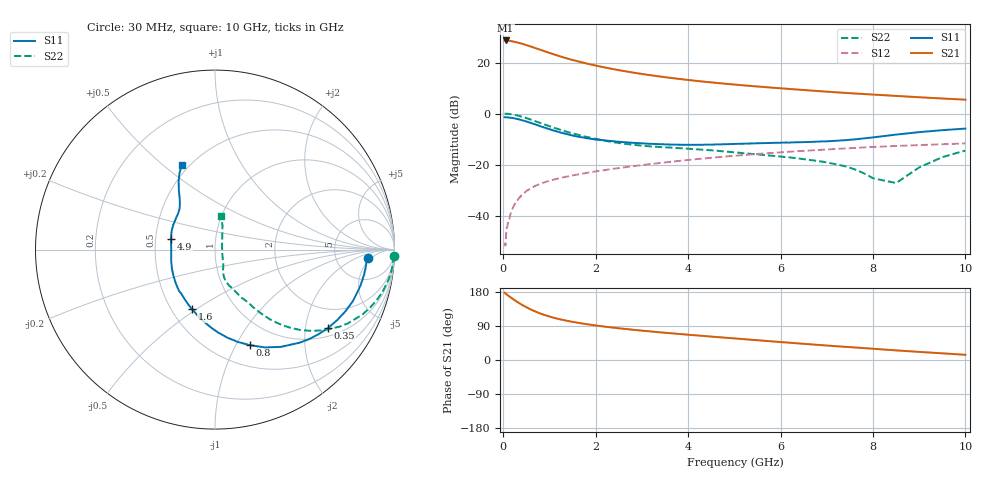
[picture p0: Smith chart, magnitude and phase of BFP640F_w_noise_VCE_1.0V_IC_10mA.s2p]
! Infineon Technologies  Discrete & RF Semiconductors
! BFP640F
! VCE =  1.0 V,  IC =  10 mA
! Common Emitter S-Parameters:  Apr 2013
# GHz  S  MA  R  50
!  f  S11  S21  S12  S22
! GHz  MAG  ANG  MAG  ANG  MAG  ANG  MAG  ANG
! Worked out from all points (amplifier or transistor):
!   99 points, 30 MHz to 10 GHz, reference 50 ohm
!   highest |S21| = 28.7 dB at 50 MHz (marker M1)
!   |S21| within 3 dB of that: start of sweep to 694.7 MHz
!   unconditionally stable (mu >= 1): 3.26 GHz to end of sweep
!   at 350 MHz: K = 0.19, MSG = 30.3 dB, |S12| = -33.0 dB
!   at 3.5 GHz: K = 1.01, MAG = 16.1 dB, |S12| = -19.2 dB
!   at 10 GHz: K = 1.07, MAG = 7.0 dB, |S12| = -11.7 dB
!   lowest NFmin = 0.63 dB at 450 MHz
!   S11 on the Smith chart (normalised r, x): 30 MHz: 11, -4; 350 MHz: 1.26, -2.67; 800 MHz: 0.73, -1.14; 1.6 GHz: 0.63, -0.48; 4.9 GHz: 0.60, +0.08; 10 GHz: 0.46, +0.58
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0.03  0.851 -3.1  26.94 177.4  0.0025 76.2  0.9956 -1.9
0.05  0.8461 -5.2  27.29 175.6  0.0026 73.0  0.9956 -3.5
0.12  0.8369 -12.5  26.93 168.8  0.0083 83.7  0.9853 -8.6
0.2  0.8196 -20.6  26.16 161.8  0.0136 79.6  0.9626 -14.2
0.3  0.7855 -30.1  24.97 153.6  0.0195 76.1  0.9218 -20.6
0.35  0.7666 -34.7  24.24 149.7  0.0224 74.7  0.8982 -23.7
0.45  0.7242 -43.5  22.88 142.6  0.0274 71.1  0.8462 -29.1
0.6  0.655 -55.8  20.7 133.1  0.0345 66.3  0.7606 -36.1
0.8  0.5658 -70.1  17.97 122.7  0.042 62.4  0.6568 -43.1
1  0.4954 -82.0  15.54 114.8  0.0481 59.4  0.5665 -48.2
1.2  0.4362 -92.7  13.57 108.2  0.0535 58.0  0.4934 -51.8
1.4  0.3922 -102.1  11.98 103.0  0.0586 56.9  0.4342 -54.4
1.6  0.3554 -111.2  10.72 98.5  0.0635 56.0  0.3886 -56.4
1.7  0.3426 -115.2  10.15 96.5  0.0658 56.2  0.3665 -57.1
2.1  0.3055 -130.8  8.397 89.5  0.0756 55.0  0.3055 -61.2
2.4  0.2862 -140.4  7.41 85.1  0.083 54.4  0.2737 -63.1
3.4  0.2511 -166.6  5.333 73.0  0.1075 51.9  0.2204 -68.0
4.9  0.252 166.2  3.792 57.9  0.1462 46.1  0.1772 -71.5
5.1  0.2554 163.2  3.654 56.0  0.1512 45.2  0.1709 -71.7
6.7  0.2794 140.7  2.82 40.9  0.1904 36.9  0.1211 -68.7
8.5  0.3875 121.3  2.225 25.4  0.2318 26.7  0.0434 25.5
10  0.5083 111.2  1.877 13.7  0.2599 18.3  0.1882 79.4
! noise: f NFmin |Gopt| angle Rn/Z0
0.45  0.63  0.2  7  0.06
0.9  0.63  0.19  19  0.06
1.5  0.65  0.18  28  0.07
1.9  0.67  0.17  43  0.08
2.4  0.7  0.15  55  0.08
3.5  0.79  0.12  85  0.1
5.5  0.99  0.13  -177  0.13
10  1.54  0.4  -98  0.34
